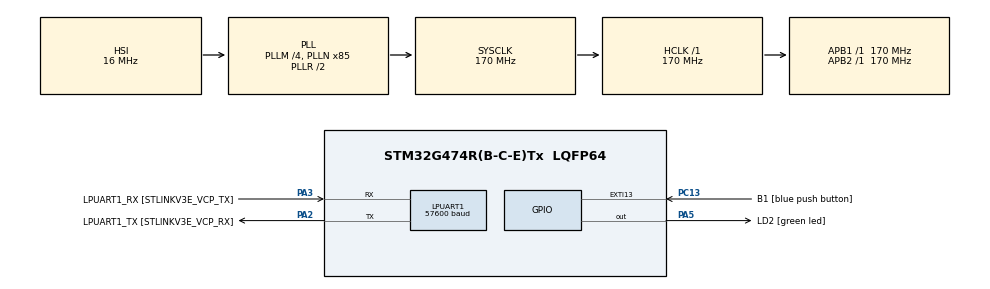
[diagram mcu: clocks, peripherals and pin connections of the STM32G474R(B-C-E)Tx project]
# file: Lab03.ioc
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Dma.LPUART1_RX.1.Direction=DMA_PERIPH_TO_MEMORY
Dma.LPUART1_RX.1.EventEnable=DISABLE
Dma.LPUART1_RX.1.Instance=DMA1_Channel2
Dma.LPUART1_RX.1.MemDataAlignment=DMA_MDATAALIGN_BYTE
Dma.LPUART1_RX.1.MemInc=DMA_MINC_ENABLE
Dma.LPUART1_RX.1.Mode=DMA_NORMAL
Dma.LPUART1_RX.1.PeriphDataAlignment=DMA_PDATAALIGN_BYTE
Dma.LPUART1_RX.1.PeriphInc=DMA_PINC_DISABLE
Dma.LPUART1_RX.1.Polarity=HAL_DMAMUX_REQ_GEN_RISING
Dma.LPUART1_RX.1.Priority=DMA_PRIORITY_LOW
Dma.LPUART1_RX.1.RequestNumber=1
Dma.LPUART1_RX.1.SignalID=NONE
Dma.LPUART1_RX.1.SyncEnable=DISABLE
Dma.LPUART1_RX.1.SyncPolarity=HAL_DMAMUX_SYNC_NO_EVENT
Dma.LPUART1_RX.1.SyncRequestNumber=1
Dma.LPUART1_RX.1.SyncSignalID=NONE
Dma.LPUART1_TX.0.Direction=DMA_MEMORY_TO_PERIPH
Dma.LPUART1_TX.0.EventEnable=DISABLE
Dma.LPUART1_TX.0.Instance=DMA1_Channel1
Dma.LPUART1_TX.0.MemDataAlignment=DMA_MDATAALIGN_BYTE
Dma.LPUART1_TX.0.MemInc=DMA_MINC_ENABLE
Dma.LPUART1_TX.0.Mode=DMA_NORMAL
Dma.LPUART1_TX.0.PeriphDataAlignment=DMA_PDATAALIGN_BYTE
Dma.LPUART1_TX.0.PeriphInc=DMA_PINC_DISABLE
Dma.LPUART1_TX.0.Polarity=HAL_DMAMUX_REQ_GEN_RISING
Dma.LPUART1_TX.0.Priority=DMA_PRIORITY_LOW
Dma.LPUART1_TX.0.RequestNumber=1
Dma.LPUART1_TX.0.SignalID=NONE
Dma.LPUART1_TX.0.SyncEnable=DISABLE
Dma.LPUART1_TX.0.SyncPolarity=HAL_DMAMUX_SYNC_NO_EVENT
Dma.LPUART1_TX.0.SyncRequestNumber=1
Dma.LPUART1_TX.0.SyncSignalID=NONE
Dma.Request0=LPUART1_TX
Dma.Request1=LPUART1_RX
LPUART1.BaudRate=57600
LPUART1.WordLength=UART_WORDLENGTH_8B
Mcu.Family=STM32G4
Mcu.Name=STM32G474R(B-C-E)Tx
Mcu.Package=LQFP64
NVIC.DMA1_Channel1_IRQn=true\:0\:0\:false\:false\:true\:false\:true\:true
NVIC.DMA1_Channel2_IRQn=true\:0\:0\:false\:false\:true\:false\:true\:true
NVIC.EXTI15_10_IRQn=true\:0\:0\:false\:false\:true\:true\:true\:true
NVIC.LPUART1_IRQn=true\:0\:0\:false\:false\:true\:true\:true\:true
NVIC.PriorityGroup=NVIC_PRIORITYGROUP_4
PA13.GPIO_Label=T_SWDIO
PA13.Mode=Serial_Wire
PA13.Signal=SYS_JTMS-SWDIO
PA14.GPIO_Label=T_SWCLK
PA14.Mode=Serial_Wire
PA14.Signal=SYS_JTCK-SWCLK
PA2.GPIO_Label=LPUART1_TX [STLINKV3E_VCP_RX]
PA2.Mode=Asynchronous
PA2.Signal=LPUART1_TX
PA3.GPIO_Label=LPUART1_RX [STLINKV3E_VCP_TX]
PA3.Mode=Asynchronous
PA3.Signal=LPUART1_RX
PA5.GPIO_Label=LD2 [green led]
PA5.Signal=GPIO_Output
PB3.GPIO_Label=T_SWO
PB3.Signal=SYS_JTDO-SWO
PC13.GPIO_Label=B1 [blue push button]
PC13.Signal=GPXTI13
PC14-OSC32_IN.Mode=LSE-External-Oscillator
PC14-OSC32_IN.Signal=RCC_OSC32_IN
PC15-OSC32_OUT.Mode=LSE-External-Oscillator
PC15-OSC32_OUT.Signal=RCC_OSC32_OUT
PF0-OSC_IN.Mode=HSE-External-Oscillator
PF0-OSC_IN.Signal=RCC_OSC_IN
PF1-OSC_OUT.Mode=HSE-External-Oscillator
PF1-OSC_OUT.Signal=RCC_OSC_OUT
ProjectManager.HeapSize=0x200
ProjectManager.StackSize=0x400
ProjectManager.TargetToolchain=STM32CubeIDE
RCC.ADC12Freq_Value=170000000
RCC.ADC345Freq_Value=170000000
RCC.AHBFreq_Value=170000000
RCC.APB1Freq_Value=170000000
RCC.APB1TimFreq_Value=170000000
RCC.APB2Freq_Value=170000000
RCC.APB2TimFreq_Value=170000000
RCC.CortexFreq_Value=170000000
RCC.EXTERNAL_CLOCK_VALUE=12288000
RCC.HCLKFreq_Value=170000000
RCC.HSE_VALUE=24000000
RCC.HSI48_VALUE=48000000
RCC.HSI_VALUE=16000000
RCC.PLLM=RCC_PLLM_DIV4
RCC.PLLN=85
RCC.RTCClockSelection=RCC_RTCCLKSOURCE_LSE
RCC.SYSCLKFreq_VALUE=170000000
RCC.SYSCLKSource=RCC_SYSCLKSOURCE_PLLCLK
RCC.USBFreq_Value=170000000
RCC.VCOOutputFreq_Value=340000000
VP_SYS_VS_DBSignals.Mode=DisableDeadBatterySignals
board=NUCLEO-G474RE

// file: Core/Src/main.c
/* USER CODE BEGIN Header */
/**
  ******************************************************************************
  * @file           : main.c
  * @brief          : Main program body
  ******************************************************************************
  * @attention
  *
  * Copyright (c) 2024 STMicroelectronics.
  * All rights reserved.
  *
  * This software is licensed under terms that can be found in the LICENSE file
  * in the root directory of this software component.
  * If no LICENSE file comes with this software, it is provided AS-IS.
  *
  ******************************************************************************
  */
/* USER CODE END Header */
#include "main.h"

UART_HandleTypeDef hlpuart1;
DMA_HandleTypeDef hdma_lpuart1_tx;
DMA_HandleTypeDef hdma_lpuart1_rx;

/* USER CODE BEGIN PV */
uint8_t RxBuffer[20];
uint8_t TxBuffer[20];
uint8_t CurrentNum;
uint8_t NewNum;

/* USER CODE END PV */

void SystemClock_Config(void);
static void MX_GPIO_Init(void);
static void MX_DMA_Init(void);
static void MX_LPUART1_UART_Init(void);
/* USER CODE BEGIN PFP */
void UARTReceive();

/* USER CODE END PFP */

int main(void)
{

  /* MCU Configuration--------------------------------------------------------*/

  /* Reset of all peripherals, Initializes the Flash interface and the Systick. */
  HAL_Init();

  /* Configure the system clock */
  SystemClock_Config();

  /* Initialize all configured peripherals */
  MX_GPIO_Init();
  MX_DMA_Init();
  MX_LPUART1_UART_Init();
  /* USER CODE BEGIN 2 */
  uint8_t text[] = "HIGH-LOW Game (1-20)\r\nGuess 'H' for HIGH or 'L' for LOW\r\n";
  HAL_UART_Transmit(&hlpuart1, text, 100, 10);

  CurrentNum = (rand()%20)+1;
  NewNum = 0;

  /* USER CODE END 2 */

  /* Infinite loop */
  while (1)
  {

    /* USER CODE BEGIN 3 */
	  //currentNum
	  sprintf((char*)TxBuffer, "CurrentNum : %d\r\n", CurrentNum);
	  HAL_UART_Transmit(&hlpuart1, TxBuffer, strlen((char*)TxBuffer), 10);

	  //guess
	  UARTReceive();

	  //newNum
	  NewNum = (rand()%20)+1;
	  sprintf((char*)TxBuffer, "NewNum : %d\r\n", NewNum);
	  HAL_UART_Transmit(&hlpuart1, TxBuffer, strlen((char*)TxBuffer), 10);

	  //result
	  if((RxBuffer[0] == 72 && NewNum > CurrentNum) || (RxBuffer[0] == 76 && NewNum < CurrentNum))
	  {
		  sprintf((char*)TxBuffer, "Correct\r\n");
		  HAL_UART_Transmit(&hlpuart1, TxBuffer, strlen((char*)TxBuffer), 10);
	  }else{
		  sprintf((char*)TxBuffer, "Incorrect\r\n");
		  HAL_UART_Transmit(&hlpuart1, TxBuffer, strlen((char*)TxBuffer), 10);
	  }

	  //next
	  CurrentNum = NewNum;
	  NewNum = 0;

  }
  /* USER CODE END 3 */
}

void SystemClock_Config(void)
{
  RCC_OscInitTypeDef RCC_OscInitStruct = {0};
  RCC_ClkInitTypeDef RCC_ClkInitStruct = {0};

  /** Configure the main internal regulator output voltage
  */
  HAL_PWREx_ControlVoltageScaling(PWR_REGULATOR_VOLTAGE_SCALE1_BOOST);

  /** Initializes the RCC Oscillators according to the specified parameters
  * in the RCC_OscInitTypeDef structure.
  */
  RCC_OscInitStruct.OscillatorType = RCC_OSCILLATORTYPE_HSI;
  RCC_OscInitStruct.HSIState = RCC_HSI_ON;
  RCC_OscInitStruct.HSICalibrationValue = RCC_HSICALIBRATION_DEFAULT;
  RCC_OscInitStruct.PLL.PLLState = RCC_PLL_ON;
  RCC_OscInitStruct.PLL.PLLSource = RCC_PLLSOURCE_HSI;
  RCC_OscInitStruct.PLL.PLLM = RCC_PLLM_DIV4;
  RCC_OscInitStruct.PLL.PLLN = 85;
  RCC_OscInitStruct.PLL.PLLP = RCC_PLLP_DIV2;
  RCC_OscInitStruct.PLL.PLLQ = RCC_PLLQ_DIV2;
  RCC_OscInitStruct.PLL.PLLR = RCC_PLLR_DIV2;
  if (HAL_RCC_OscConfig(&RCC_OscInitStruct) != HAL_OK)
  {
    Error_Handler();
  }

  /** Initializes the CPU, AHB and APB buses clocks
  */
  RCC_ClkInitStruct.ClockType = RCC_CLOCKTYPE_HCLK|RCC_CLOCKTYPE_SYSCLK
                              |RCC_CLOCKTYPE_PCLK1|RCC_CLOCKTYPE_PCLK2;
  RCC_ClkInitStruct.SYSCLKSource = RCC_SYSCLKSOURCE_PLLCLK;
  RCC_ClkInitStruct.AHBCLKDivider = RCC_SYSCLK_DIV1;
  RCC_ClkInitStruct.APB1CLKDivider = RCC_HCLK_DIV1;
  RCC_ClkInitStruct.APB2CLKDivider = RCC_HCLK_DIV1;

  if (HAL_RCC_ClockConfig(&RCC_ClkInitStruct, FLASH_LATENCY_4) != HAL_OK)
  {
    Error_Handler();
  }
}

static void MX_LPUART1_UART_Init(void)
{

  hlpuart1.Instance = LPUART1;
  hlpuart1.Init.BaudRate = 57600;
  hlpuart1.Init.WordLength = UART_WORDLENGTH_8B;
  hlpuart1.Init.StopBits = UART_STOPBITS_1;
  hlpuart1.Init.Parity = UART_PARITY_NONE;
  hlpuart1.Init.Mode = UART_MODE_TX_RX;
  hlpuart1.Init.HwFlowCtl = UART_HWCONTROL_NONE;
  hlpuart1.Init.OneBitSampling = UART_ONE_BIT_SAMPLE_DISABLE;
  hlpuart1.Init.ClockPrescaler = UART_PRESCALER_DIV1;
  hlpuart1.AdvancedInit.AdvFeatureInit = UART_ADVFEATURE_NO_INIT;
  if (HAL_UART_Init(&hlpuart1) != HAL_OK)
  {
    Error_Handler();
  }
  if (HAL_UARTEx_SetTxFifoThreshold(&hlpuart1, UART_TXFIFO_THRESHOLD_1_8) != HAL_OK)
  {
    Error_Handler();
  }
  if (HAL_UARTEx_SetRxFifoThreshold(&hlpuart1, UART_RXFIFO_THRESHOLD_1_8) != HAL_OK)
  {
    Error_Handler();
  }
  if (HAL_UARTEx_DisableFifoMode(&hlpuart1) != HAL_OK)
  {
    Error_Handler();
  }

}

static void MX_DMA_Init(void)
{

  /* DMA controller clock enable */
  __HAL_RCC_DMAMUX1_CLK_ENABLE();
  __HAL_RCC_DMA1_CLK_ENABLE();

  /* DMA interrupt init */
  /* DMA1_Channel1_IRQn interrupt configuration */
  HAL_NVIC_SetPriority(DMA1_Channel1_IRQn, 0, 0);
  HAL_NVIC_EnableIRQ(DMA1_Channel1_IRQn);
  /* DMA1_Channel2_IRQn interrupt configuration */
  HAL_NVIC_SetPriority(DMA1_Channel2_IRQn, 0, 0);
  HAL_NVIC_EnableIRQ(DMA1_Channel2_IRQn);

}

static void MX_GPIO_Init(void)
{
  GPIO_InitTypeDef GPIO_InitStruct = {0};

  /* GPIO Ports Clock Enable */
  __HAL_RCC_GPIOC_CLK_ENABLE();
  __HAL_RCC_GPIOF_CLK_ENABLE();
  __HAL_RCC_GPIOA_CLK_ENABLE();
  __HAL_RCC_GPIOB_CLK_ENABLE();

  /*Configure GPIO pin Output Level */
  HAL_GPIO_WritePin(LD2_GPIO_Port, LD2_Pin, GPIO_PIN_RESET);

  /*Configure GPIO pin : B1_Pin */
  GPIO_InitStruct.Pin = B1_Pin;
  GPIO_InitStruct.Mode = GPIO_MODE_IT_RISING;
  GPIO_InitStruct.Pull = GPIO_NOPULL;
  HAL_GPIO_Init(B1_GPIO_Port, &GPIO_InitStruct);

  /*Configure GPIO pin : LD2_Pin */
  GPIO_InitStruct.Pin = LD2_Pin;
  GPIO_InitStruct.Mode = GPIO_MODE_OUTPUT_PP;
  GPIO_InitStruct.Pull = GPIO_NOPULL;
  GPIO_InitStruct.Speed = GPIO_SPEED_FREQ_LOW;
  HAL_GPIO_Init(LD2_GPIO_Port, &GPIO_InitStruct);

  /* EXTI interrupt init*/
  HAL_NVIC_SetPriority(EXTI15_10_IRQn, 0, 0);
  HAL_NVIC_EnableIRQ(EXTI15_10_IRQn);

}

/* USER CODE BEGIN 4 */
void UARTReceive()
{
	//read UART char with in 10s
	HAL_StatusTypeDef HAL_status = HAL_UART_Receive(&hlpuart1, RxBuffer, 1, 10000);

	//if complete
	if(HAL_status == HAL_OK)
	{
		//(for string only) Add string stop symbol \0 to end string
		RxBuffer[1] = '\0';

		//return received char
		sprintf((char*)TxBuffer,"Received : %s\r\n",RxBuffer);
		HAL_UART_Transmit(&hlpuart1, TxBuffer, strlen((char*)TxBuffer), 10);
	}
	//Timeout : print only received char
	else if(HAL_status == HAL_TIMEOUT)
	{
		//(for string only) Add string stop symbol \0 to end string
		uint32_t lastCharPos = hlpuart1.RxXferSize - hlpuart1.RxXferCount;
		RxBuffer[lastCharPos] = '\0';

		//return received char
		sprintf((char*)TxBuffer,"Received Timeout : %s\r\n",RxBuffer);
		HAL_UART_Transmit(&hlpuart1, TxBuffer, strlen((char*)TxBuffer), 10);
	}
}
/* USER CODE END 4 */

void Error_Handler(void)
{
  __disable_irq();
  while (1)
  {
  }
}
